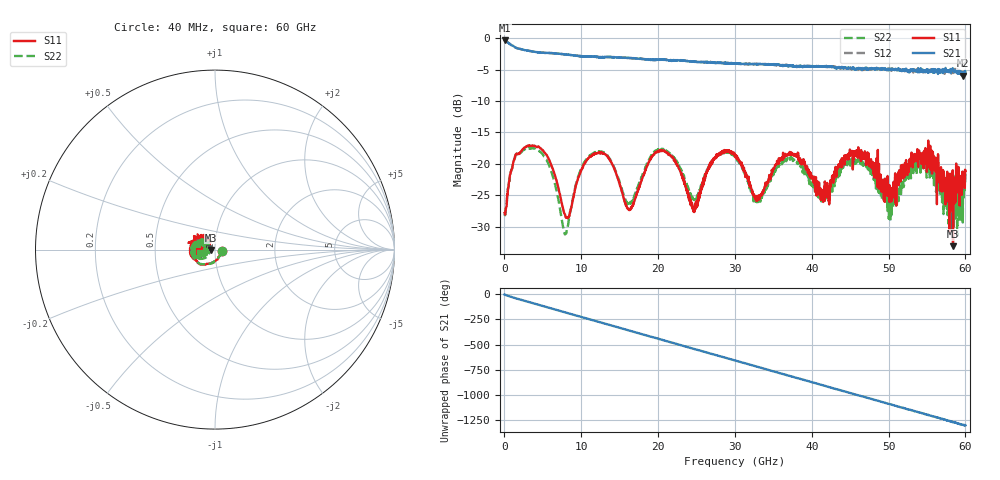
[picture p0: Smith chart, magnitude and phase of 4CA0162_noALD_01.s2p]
! File created by 'SoftPlot +Plus+ Measurement Management Software'
! SoftPlot +Plus+ Measurement Management Software
! Start 40.000000 MHz  Stop 60.000000 GHz  Points 1601
# MHZ S RI R 50
! S-Parameter data, F S11 S21 S12 S22
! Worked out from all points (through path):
!   1601 points, 40 MHz to 60 GHz, reference 50 ohm
!   highest |S21| = -0.38 dB at 40 MHz (marker M1); lowest = -6.0 dB at 59.66 GHz (marker M2)
!   group delay of S21, straight-line fit = 60.1 ps
!   lowest |S11| = -33.1 dB at 58.39 GHz (marker M3), VSWR 1.05, Z = 47.8 - j0.203 ohm
!   |S11| at or under -10 dB: start of sweep to end of sweep
!   |S22| runs from -31.5 to -17.5 dB; largest |S21 - S12| = 0.056
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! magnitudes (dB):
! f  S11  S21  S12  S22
! 40 MHz  -27.8  -0.4  -0.4  -28.0
! 1.427 GHz  -18.7  -1.5  -1.5  -18.8
! 3.9 GHz  -17.1  -2.2  -2.2  -17.5
! 5.924 GHz  -19.6  -2.4  -2.4  -20.6
! 7.985 GHz  -28.4  -2.6  -2.6  -31.1
! 10.05 GHz  -21.0  -2.9  -2.9  -20.6
! 13.16 GHz  -18.5  -3.0  -3.0  -18.4
! 16.3 GHz  -27.4  -3.2  -3.2  -26.3
! 20.05 GHz  -18.0  -3.4  -3.5  -17.7
! 24.7 GHz  -27.7  -3.7  -3.7  -25.7
! 27.43 GHz  -18.9  -4.0  -4.0  -19.0
! 30.02 GHz  -18.8  -4.0  -4.0  -18.8
! 32.79 GHz  -25.9  -4.1  -4.1  -25.7
! 36.69 GHz  -18.6  -4.4  -4.4  -19.6
! 40.03 GHz  -22.2  -4.5  -4.5  -23.4
! 42.05 GHz  -25.3  -4.5  -4.6  -24.9
! 46.13 GHz  -17.9  -4.8  -4.9  -19.7
! 50.03 GHz  -23.9  -4.9  -4.8  -28.8
! 54.08 GHz  -18.7  -5.4  -5.4  -20.4
! 58.39 GHz  -33.1  -5.2  -5.0  -28.4
! 59.66 GHz  -23.5  -6.0  -5.4  -29.3
! 60 GHz  -21.2  -5.6  -5.5  -21.6
